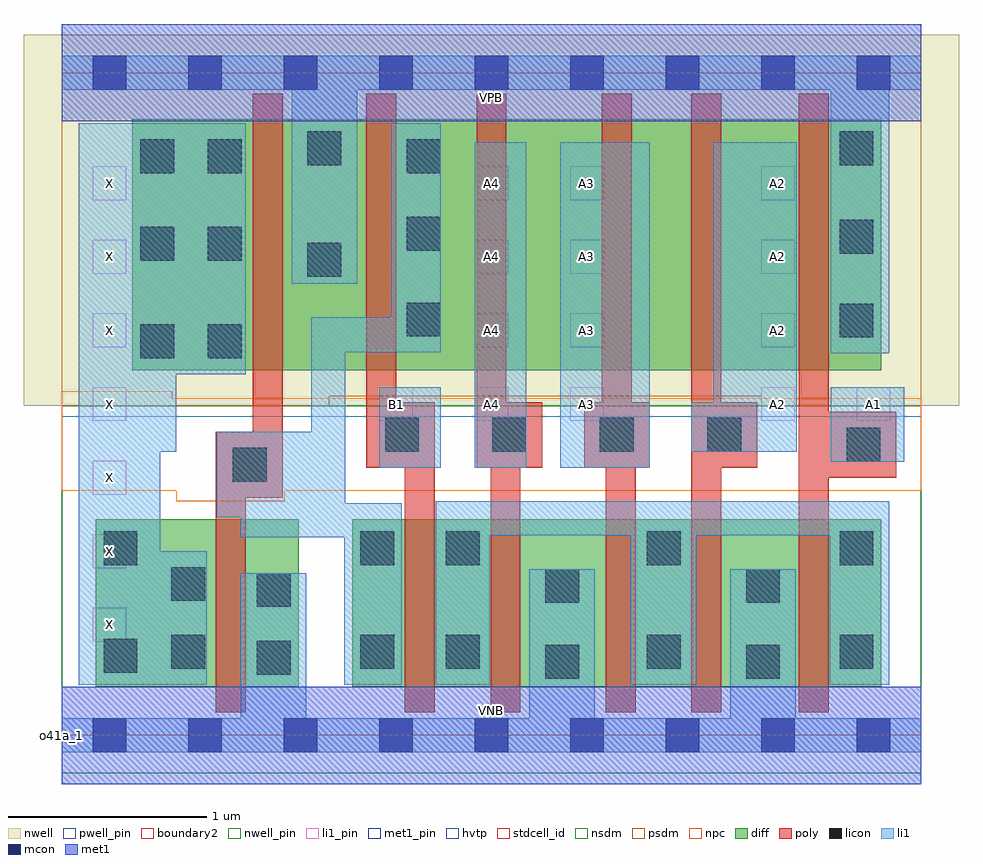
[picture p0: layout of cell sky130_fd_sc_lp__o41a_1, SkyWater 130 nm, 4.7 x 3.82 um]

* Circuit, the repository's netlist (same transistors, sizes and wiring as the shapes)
* Copyright 2020 The SkyWater PDK Authors
*
* Licensed under the Apache License, Version 2.0 (the "License");
* you may not use this file except in compliance with the License.
* You may obtain a copy of the License at
*
*     https://www.apache.org/licenses/LICENSE-2.0
*
* Unless required by applicable law or agreed to in writing, software
* distributed under the License is distributed on an "AS IS" BASIS,
* WITHOUT WARRANTIES OR CONDITIONS OF ANY KIND, either express or implied.
* See the License for the specific language governing permissions and
* limitations under the License.
*
* SPDX-License-Identifier: Apache-2.0

.SUBCKT sky130_fd_sc_lp__o41a_1 A1 A2 A3 A4 B1 VGND VNB VPB VPWR X
*.PININFO A1:I A2:I A3:I A4:I B1:I VGND:I VNB:I VPB:I VPWR:I X:O
MMPA0 VPWR A1 sndA1 VPB sky130_fd_pr__pfet_01v8_hvt m=1 w=1.26U l=0.15U mult=1
+ sa=0.265 sb=0.265 sd=0.28 area=0.063 perim=1.14
MMPA1 sndA1 A2 sndA2 VPB sky130_fd_pr__pfet_01v8_hvt m=1 w=1.26U l=0.15U mult=1
+ sa=0.265 sb=0.265 sd=0.28 area=0.063 perim=1.14
MMPA2 sndA2 A3 sndA3 VPB sky130_fd_pr__pfet_01v8_hvt m=1 w=1.26U l=0.15U mult=1
+ sa=0.265 sb=0.265 sd=0.28 area=0.063 perim=1.14
MMPA3 sndA3 A4 y VPB sky130_fd_pr__pfet_01v8_hvt m=1 w=1.26U l=0.15U mult=1 sa=0.265
+ sb=0.265 sd=0.28 area=0.063 perim=1.14
MMPB0 VPWR B1 y VPB sky130_fd_pr__pfet_01v8_hvt m=1 w=1.26U l=0.15U mult=1 sa=0.265
+ sb=0.265 sd=0.28 area=0.063 perim=1.14
MMIPX X y VPWR VPB sky130_fd_pr__pfet_01v8_hvt m=1 w=1.26U l=0.15U mult=1 sa=0.265
+ sb=0.265 sd=0.28 area=0.063 perim=1.14
MMNA0 pndA A1 VGND VNB sky130_fd_pr__nfet_01v8 m=1 w=0.84U l=0.15U mult=1 sa=0.265
+ sb=0.265 sd=0.28 area=0.063 perim=1.14
MMNA1 pndA A2 VGND VNB sky130_fd_pr__nfet_01v8 m=1 w=0.84U l=0.15U mult=1 sa=0.265
+ sb=0.265 sd=0.28 area=0.063 perim=1.14
MMNA2 pndA A3 VGND VNB sky130_fd_pr__nfet_01v8 m=1 w=0.84U l=0.15U mult=1 sa=0.265
+ sb=0.265 sd=0.28 area=0.063 perim=1.14
MMNA3 pndA A4 VGND VNB sky130_fd_pr__nfet_01v8 m=1 w=0.84U l=0.15U mult=1 sa=0.265
+ sb=0.265 sd=0.28 area=0.063 perim=1.14
MMNB0 y B1 pndA VNB sky130_fd_pr__nfet_01v8 m=1 w=0.84U l=0.15U mult=1 sa=0.265
+ sb=0.265 sd=0.28 area=0.063 perim=1.14
MMINX X y VGND VNB sky130_fd_pr__nfet_01v8 m=1 w=0.84U l=0.15U mult=1 sa=0.265
+ sb=0.265 sd=0.28 area=0.063 perim=1.14
.ENDS sky130_fd_sc_lp__o41a_1

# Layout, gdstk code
import gdstk
lib = gdstk.Library(unit=1e-6, precision=1e-09)
def R(c, l, rs):  # rectangles x0, y0, x1, y1
    for r in rs: c.add(gdstk.rectangle(r[:2], r[2:], *l))
def A(c, l, x, y, w, h, nx, ny, dx, dy):  # array of equal rectangles
    R(c, l, [(x+i*dx, y+j*dy, x+i*dx+w, y+j*dy+h) for i in range(nx) for j in range(ny)])
def P(c, l, *ps):  # polygons
    for p in ps: c.add(gdstk.Polygon(p, *l))
nwell_pin = (64, 16)
nwell = (64, 20)
diff = (65, 20)
poly = (66, 20)
licon = (66, 44)
li1_pin = (67, 16)
li1 = (67, 20)
mcon = (67, 44)
met1_pin = (68, 16)
met1 = (68, 20)
hvtp = (78, 44)
stdcell_id = (81, 4)
nsdm = (93, 44)
psdm = (94, 20)
npc = (95, 20)
pwell_pin = (122, 16)
boundary2 = (236, 0)

sky130_fd_sc_lp__o41a_1 = lib.new_cell('sky130_fd_sc_lp__o41a_1')
R(sky130_fd_sc_lp__o41a_1, nwell_pin, [(0,3.085,4.32,3.33)])
R(sky130_fd_sc_lp__o41a_1, nwell, [(-0.19,1.655,4.51,3.52)])
R(sky130_fd_sc_lp__o41a_1, diff, [(0.17,0.245,1.19,1.085), (1.46,0.245,4.12,1.085), (0.355,1.835,4.12,3.095)])
R(sky130_fd_sc_lp__o41a_1, poly, [(2.155,0.115,2.305,1.345), (2.715,1.675,2.865,3.225)])
P(sky130_fd_sc_lp__o41a_1, poly, [(1.11,3.225),(0.96,3.225),(0.96,1.525),(0.775,1.525),(0.775,0.115),(0.925,0.115),(0.925,1.195),(1.11,1.195)],
  [(1.875,1.675),(1.68,1.675),(1.68,3.225),(1.53,3.225),(1.53,1.345),(1.725,1.345),(1.725,0.115),(1.875,0.115)],
  [(2.415,1.675),(2.235,1.675),(2.235,3.225),(2.085,3.225),(2.085,1.345),(2.415,1.345)],
  [(2.955,1.675),(2.625,1.675),(2.625,1.345),(2.735,1.345),(2.735,0.115),(2.885,0.115),(2.885,1.345),(2.955,1.345)],
  [(3.495,1.675),(3.315,1.675),(3.315,3.225),(3.165,3.225),(3.165,0.115),(3.315,0.115),(3.315,1.345),(3.495,1.345)],
  [(4.195,1.625),(3.855,1.625),(3.855,3.225),(3.705,3.225),(3.705,0.115),(3.855,0.115),(3.855,1.295),(4.195,1.295)])
A(sky130_fd_sc_lp__o41a_1, licon, 1.625, 1.425, 0.17, 0.17, 4, 1, 0.54, 0)
R(sky130_fd_sc_lp__o41a_1, licon, [(2.43,0.285,2.6,0.455), (3.44,0.285,3.61,0.455), (0.98,0.305,1.15,0.475), (0.21,0.315,0.38,0.485), (0.55,0.335,0.72,0.505), (1.5,0.335,1.67,0.505), (1.93,0.335,2.1,0.505), (2.94,0.335,3.11,0.505), (3.91,0.335,4.08,0.505), (0.98,0.645,1.15,0.815), (2.43,0.665,2.6,0.835), (3.44,0.665,3.61,0.835), (0.55,0.675,0.72,0.845), (0.21,0.855,0.38,1.025), (1.5,0.855,1.67,1.025), (1.93,0.855,2.1,1.025), (2.94,0.855,3.11,1.025), (3.91,0.855,4.08,1.025), (0.86,1.275,1.03,1.445), (3.945,1.375,4.115,1.545), (0.395,1.895,0.565,2.065), (0.735,1.895,0.905,2.065), (3.91,2,4.08,2.17), (1.735,2.005,1.905,2.175), (1.235,2.305,1.405,2.475), (0.395,2.385,0.565,2.555), (0.735,2.385,0.905,2.555), (3.91,2.42,4.08,2.59), (1.735,2.435,1.905,2.605), (0.395,2.825,0.565,2.995), (0.735,2.825,0.905,2.995), (1.735,2.825,1.905,2.995), (1.235,2.865,1.405,3.035), (3.91,2.865,4.08,3.035)])
A(sky130_fd_sc_lp__o41a_1, li1_pin, 0.155, 0.47, 0.17, 0.17, 1, 7, 0, 0.37)
A(sky130_fd_sc_lp__o41a_1, li1_pin, 1.595, 1.58, 0.17, 0.17, 3, 1, 0.48, 0)
A(sky130_fd_sc_lp__o41a_1, li1_pin, 3.515, 1.58, 0.17, 0.17, 1, 4, 0, 0.37)
A(sky130_fd_sc_lp__o41a_1, li1_pin, 2.075, 1.95, 0.17, 0.17, 1, 3, 0, 0.37)
A(sky130_fd_sc_lp__o41a_1, li1_pin, 2.555, 1.95, 0.17, 0.17, 1, 3, 0, 0.37)
R(sky130_fd_sc_lp__o41a_1, li1_pin, [(3.995,1.58,4.165,1.75)])
R(sky130_fd_sc_lp__o41a_1, li1, [(1.595,1.345,1.905,1.75), (2.075,1.345,2.335,2.98), (2.505,1.345,2.955,2.98), (3.865,1.375,4.235,1.75)])
P(sky130_fd_sc_lp__o41a_1, li1, [(3.865,1.92),(3.865,3.245),(1.485,3.245),(1.485,2.27),(1.155,2.27),(1.155,3.245),(0,3.245),(0,3.415),(4.32,3.415),(4.32,3.245),(4.16,3.245),(4.16,1.92)],
  [(2.35,0.085),(2.35,0.835),(2.68,0.835),(2.68,0.085),(3.36,0.085),(3.36,0.835),(3.69,0.835),(3.69,0.085),(4.32,0.085),(4.32,-0.085),(0,-0.085),(0,0.085),(0.9,0.085),(0.9,0.815),(1.23,0.815),(1.23,0.085)],
  [(3.695,2.98),(3.275,2.98),(3.275,1.675),(3.165,1.675),(3.165,1.425),(3.695,1.425)],
  [(1.905,3.075),(1.655,3.075),(1.655,2.1),(1.255,2.1),(1.255,1.525),(0.78,1.525),(0.78,1.095),(0.9,1.095),(0.9,0.995),(1.42,0.995),(1.42,0.255),(1.71,0.255),(1.71,1.165),(1.425,1.165),(1.425,1.925),(1.905,1.925)],
  [(0.925,3.075),(0.085,3.075),(0.085,0.255),(0.73,0.255),(0.73,0.925),(0.495,0.925),(0.495,1.425),(0.575,1.425),(0.575,1.815),(0.925,1.815)],
  [(3.86,1.005),(3.19,1.005),(3.19,0.255),(2.86,0.255),(2.86,1.005),(2.15,1.005),(2.15,0.255),(1.88,0.255),(1.88,1.175),(4.16,1.175),(4.16,0.255),(3.86,0.255)])
A(sky130_fd_sc_lp__o41a_1, mcon, 0.155, -0.085, 0.17, 0.17, 9, 2, 0.48, 3.33)
R(sky130_fd_sc_lp__o41a_1, met1_pin, [(0,0,4.32,0.245), (0,3.085,4.32,3.33)])
R(sky130_fd_sc_lp__o41a_1, met1, [(0,-0.245,4.32,0.245), (0,3.085,4.32,3.575)])
R(sky130_fd_sc_lp__o41a_1, hvtp, [(0,1.6,4.32,3.33)])
R(sky130_fd_sc_lp__o41a_1, stdcell_id, [(0,0,4.32,3.33)])
R(sky130_fd_sc_lp__o41a_1, nsdm, [(0,-0.19,4.32,1.655)])
P(sky130_fd_sc_lp__o41a_1, psdm, [(4.32,3.52),(0,3.52),(0,1.655),(1.345,1.655),(1.345,1.705),(3.515,1.705),(3.515,1.655),(4.32,1.655)])
P(sky130_fd_sc_lp__o41a_1, npc, [(4.32,1.695),(0.555,1.695),(0.555,1.73),(0,1.73),(0,1.23),(0.575,1.23),(0.575,1.175),(1.12,1.175),(1.12,1.23),(4.32,1.23)])
R(sky130_fd_sc_lp__o41a_1, pwell_pin, [(0,0,4.32,0.245)])
R(sky130_fd_sc_lp__o41a_1, boundary2, [(0,0,4.32,3.33)])
sky130_fd_sc_lp__o41a_1.add(gdstk.Label('VNB', (2.16,0.123), layer=64, texttype=59))
sky130_fd_sc_lp__o41a_1.add(gdstk.Label('VPB', (2.16,3.208), layer=64, texttype=5))
sky130_fd_sc_lp__o41a_1.add(gdstk.Label('o41a_1', (0,0), layer=83, texttype=44))
sky130_fd_sc_lp__o41a_1.add(gdstk.Label('VPWR', (2.16,3.208), layer=68, texttype=5))
sky130_fd_sc_lp__o41a_1.add(gdstk.Label('VGND', (2.16,0.123), layer=68, texttype=5))
sky130_fd_sc_lp__o41a_1.add(gdstk.Label('A2', (3.6,1.665), layer=67, texttype=5))
sky130_fd_sc_lp__o41a_1.add(gdstk.Label('A2', (3.6,2.035), layer=67, texttype=5))
sky130_fd_sc_lp__o41a_1.add(gdstk.Label('A2', (3.6,2.405), layer=67, texttype=5))
sky130_fd_sc_lp__o41a_1.add(gdstk.Label('A2', (3.6,2.775), layer=67, texttype=5))
sky130_fd_sc_lp__o41a_1.add(gdstk.Label('A3', (2.64,1.665), layer=67, texttype=5))
sky130_fd_sc_lp__o41a_1.add(gdstk.Label('A3', (2.64,2.035), layer=67, texttype=5))
sky130_fd_sc_lp__o41a_1.add(gdstk.Label('A3', (2.64,2.405), layer=67, texttype=5))
sky130_fd_sc_lp__o41a_1.add(gdstk.Label('A3', (2.64,2.775), layer=67, texttype=5))
sky130_fd_sc_lp__o41a_1.add(gdstk.Label('A4', (2.16,1.665), layer=67, texttype=5))
sky130_fd_sc_lp__o41a_1.add(gdstk.Label('A4', (2.16,2.035), layer=67, texttype=5))
sky130_fd_sc_lp__o41a_1.add(gdstk.Label('A4', (2.16,2.405), layer=67, texttype=5))
sky130_fd_sc_lp__o41a_1.add(gdstk.Label('A4', (2.16,2.775), layer=67, texttype=5))
sky130_fd_sc_lp__o41a_1.add(gdstk.Label('X', (0.24,0.555), layer=67, texttype=5))
sky130_fd_sc_lp__o41a_1.add(gdstk.Label('X', (0.24,0.925), layer=67, texttype=5))
sky130_fd_sc_lp__o41a_1.add(gdstk.Label('X', (0.24,1.295), layer=67, texttype=5))
sky130_fd_sc_lp__o41a_1.add(gdstk.Label('X', (0.24,1.665), layer=67, texttype=5))
sky130_fd_sc_lp__o41a_1.add(gdstk.Label('X', (0.24,2.035), layer=67, texttype=5))
sky130_fd_sc_lp__o41a_1.add(gdstk.Label('X', (0.24,2.405), layer=67, texttype=5))
sky130_fd_sc_lp__o41a_1.add(gdstk.Label('X', (0.24,2.775), layer=67, texttype=5))
sky130_fd_sc_lp__o41a_1.add(gdstk.Label('A1', (4.08,1.665), layer=67, texttype=5))
sky130_fd_sc_lp__o41a_1.add(gdstk.Label('B1', (1.68,1.665), layer=67, texttype=5))

lib.write_gds('sky130_fd_sc_lp__o41a_1.gds')
